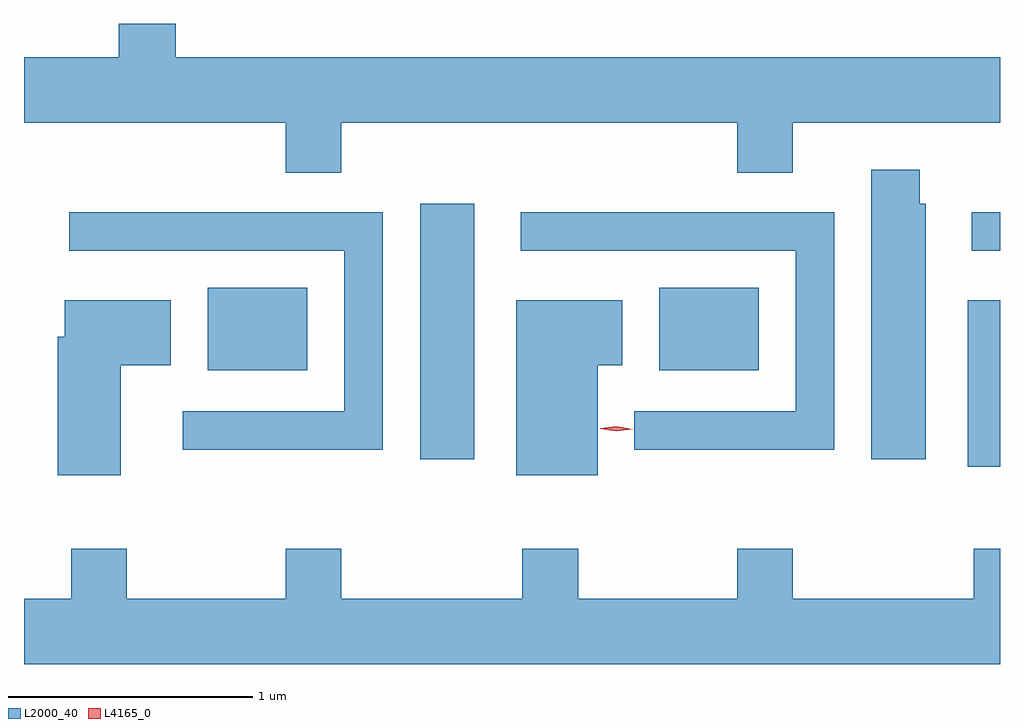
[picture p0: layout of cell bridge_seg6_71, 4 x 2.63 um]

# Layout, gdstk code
import gdstk
lib = gdstk.Library(unit=1e-6, precision=1e-09)
def R(c, l, rs):  # rectangles x0, y0, x1, y1
    for r in rs: c.add(gdstk.rectangle(r[:2], r[2:], *l))
def P(c, l, *ps):  # polygons
    for p in ps: c.add(gdstk.Polygon(p, *l))
L2000_40 = (2000, 40)
L4165_0 = (4165, 0)

bridge_seg6_71 = lib.new_cell('bridge_seg6_71')
R(bridge_seg6_71, L2000_40, [(1430.006,1639.646,1430.138,1640.329), (1427.761,1639.676,1427.984,1640.724), (1426.891,1640.041,1427.299,1640.379), (1428.741,1640.041,1429.149,1640.379), (1430.023,1640.531,1430.138,1640.689)])
P(bridge_seg6_71, L2000_40, [(1427.439,1641.056),(1429.061,1641.056),(1429.061,1640.851),(1429.289,1640.851),(1429.289,1641.056),(1430.138,1641.056),(1430.138,1641.324),(1426.759,1641.324),(1426.759,1641.462),(1426.526,1641.462),(1426.526,1641.324),(1426.138,1641.324),(1426.138,1641.056),(1427.211,1641.056),(1427.211,1640.851),(1427.439,1640.851)],
  [(1429.834,1640.724),(1429.809,1640.724),(1429.809,1640.864),(1429.611,1640.864),(1429.611,1639.676),(1429.834,1639.676)],
  [(1429.459,1640.689),(1428.173,1640.689),(1428.173,1640.531),(1429.301,1640.531),(1429.301,1639.874),(1428.638,1639.874),(1428.638,1639.716),(1429.459,1639.716)],
  [(1427.609,1640.689),(1426.323,1640.689),(1426.323,1640.531),(1427.451,1640.531),(1427.451,1639.874),(1426.788,1639.874),(1426.788,1639.716),(1427.609,1639.716)],
  [(1426.534,1640.061),(1426.739,1640.061),(1426.739,1640.329),(1426.306,1640.329),(1426.306,1640.179),(1426.276,1640.179),(1426.276,1639.611),(1426.534,1639.611)],
  [(1428.489,1640.061),(1428.589,1640.061),(1428.589,1640.329),(1428.156,1640.329),(1428.156,1639.611),(1428.489,1639.611)],
  [(1430.138,1639.309),(1430.031,1639.309),(1430.031,1639.104),(1429.289,1639.104),(1429.289,1639.309),(1429.061,1639.309),(1429.061,1639.104),(1428.409,1639.104),(1428.409,1639.309),(1428.181,1639.309),(1428.181,1639.104),(1427.439,1639.104),(1427.439,1639.309),(1427.211,1639.309),(1427.211,1639.104),(1426.559,1639.104),(1426.559,1639.309),(1426.331,1639.309),(1426.331,1639.104),(1426.138,1639.104),(1426.138,1638.836),(1430.138,1638.836)])
P(bridge_seg6_71, L4165_0, [(1428.565,1639.791),(1428.5,1639.802),(1428.499,1639.802),(1428.5,1639.803),(1428.566,1639.811),(1428.632,1639.8),(1428.632,1639.799),(1428.632,1639.799)])

lib.write_gds('bridge_seg6_71.gds')
